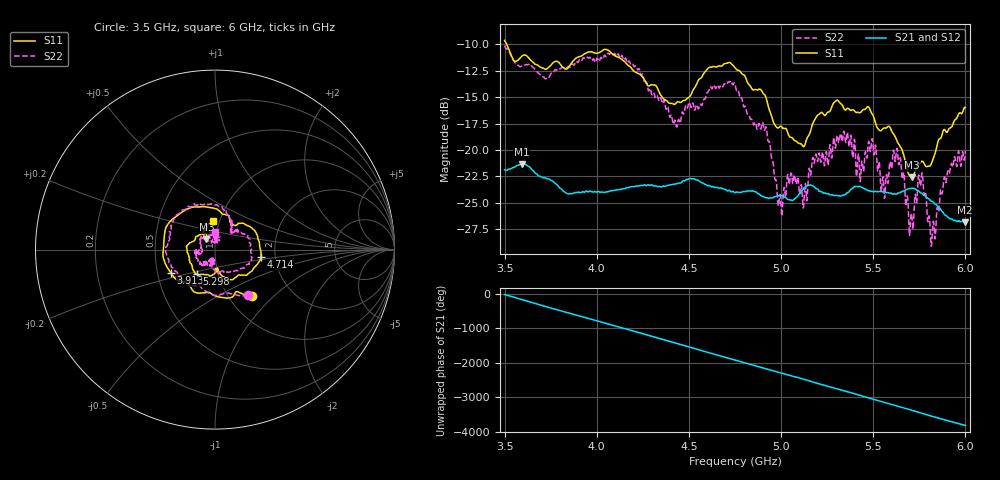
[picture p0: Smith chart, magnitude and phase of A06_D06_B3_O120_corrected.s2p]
! Created with skrf 1.9.0 (http://scikit-rf.org).
# Hz S RI R 50.0
!freq ReS11 ImS11 ReS21 ImS21 ReS12 ImS12 ReS22 ImS22
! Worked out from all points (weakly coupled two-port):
!   1601 points, 3.5 GHz to 6 GHz, reference 50 ohm
!   highest |S21| = -21.31 dB at 3.592 GHz (marker M1); lowest = -26.8 dB at 5.995 GHz (marker M2)
!   lowest |S11| = -22.6 dB at 5.711 GHz (marker M3), VSWR 1.16, Z = 45.1 + j5.11 ohm
!   |S11| at or under -10 dB: 3.511 GHz to end of sweep
!   |S22| runs from -29.1 to -10.1 dB; largest |S21 - S12| = 0.0009
!   S11 on the Smith chart (normalised r, x): 3.5 GHz: 1.28, -0.74; 3.913 GHz: 0.59, -0.17; 4.714 GHz: 1.68, -0.15; 5.298 GHz: 0.79, -0.22; 6 GHz: 0.93, +0.30
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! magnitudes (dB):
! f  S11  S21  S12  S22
! 3.5 GHz  -9.6  -21.9  -21.8  -10.1
! 3.592 GHz  -11.1  -21.3  -21.3  -12.0
! 3.913 GHz  -11.1  -24.0  -24.0  -11.5
! 3.917 GHz  -11.1  -24.0  -24.0  -11.6
! 4.127 GHz  -11.3  -23.7  -23.7  -11.3
! 4.334 GHz  -14.3  -23.5  -23.4  -15.2
! 4.441 GHz  -15.4  -23.2  -23.1  -17.3
! 4.714 GHz  -11.7  -23.8  -23.8  -13.6
! 4.75 GHz  -12.2  -24.1  -24.0  -13.8
! 4.911 GHz  -14.8  -24.5  -24.4  -18.1
! 4.995 GHz  -17.8  -24.3  -24.3  -24.2
! 5.13 GHz  -19.5  -23.5  -23.5  -23.4
! 5.167 GHz  -17.7  -23.4  -23.3  -21.2
! 5.298 GHz  -15.3  -24.3  -24.2  -19.4
! 5.584 GHz  -17.8  -24.1  -24.0  -22.3
! 5.638 GHz  -19.4  -24.1  -24.0  -21.4
! 5.711 GHz  -22.6  -23.6  -23.5  -26.5
! 5.756 GHz  -21.2  -24.0  -24.0  -23.4
! 5.825 GHz  -20.8  -24.9  -24.9  -26.8
! 5.894 GHz  -18.2  -26.2  -26.1  -23.1
! 5.995 GHz  -16.0  -26.8  -26.7  -20.9
! 6 GHz  -16.0  -26.8  -26.8  -20.1
